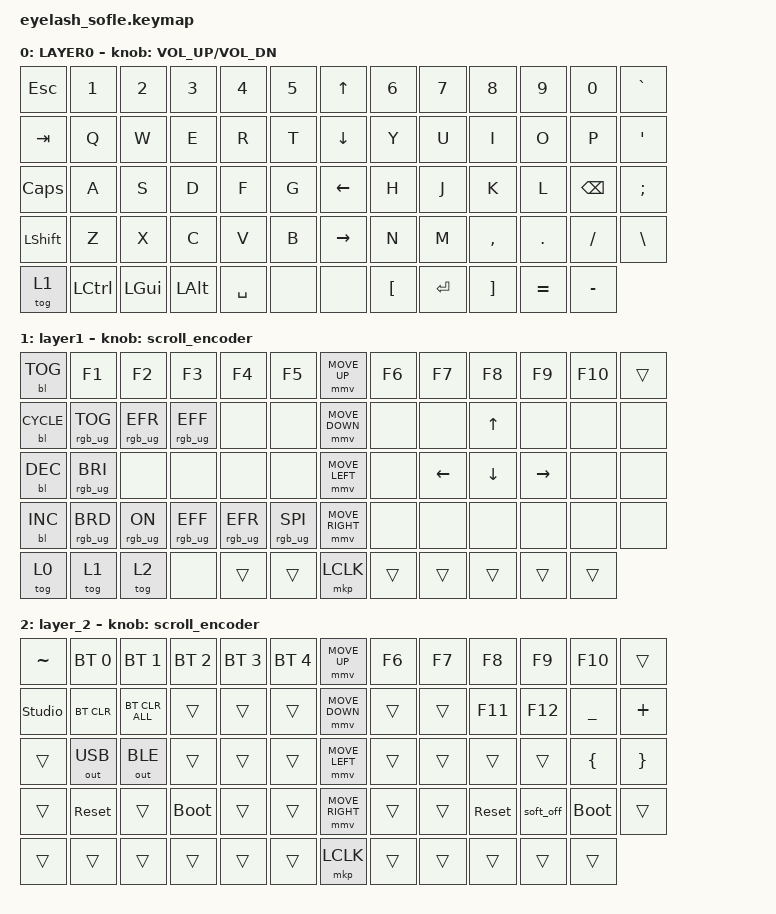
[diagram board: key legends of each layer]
#include <behaviors.dtsi>
#include <dt-bindings/zmk/bt.h>
#include <dt-bindings/zmk/keys.h>
#include <dt-bindings/zmk/mouse.h>
#include <dt-bindings/zmk/outputs.h>
#include <dt-bindings/zmk/backlight.h>
#include <dt-bindings/zmk/rgb.h>

#include <input/processors.dtsi>

/*

   &mmv_input_listener {
       input-processors = <&zip_xy_scaler 2 1>;
   };

   &msc_input_listener {
       input-processors = <&zip_xy_scaler 2 1>;
   };

 */

#define ZMK_MOUSE_DEFAULT_MOVE_VAL 1200  // 600
#define ZMK_MOUSE_DEFAULT_SCRL_VAL 20    // 10


/ {
    behaviors {
        mmv {
            acceleration-exponent = <1>;      // 1
            time-to-max-speed-ms = <900>;    // 40
            delay-ms = <0>;                   // 0
        };

        msc {
            acceleration-exponent = <1>;      // 0
            time-to-max-speed-ms = <400>;      // 500
            delay-ms = <0>;                   //   10
        };
    };

    scroll_encoder: scroll_encoder {
        compatible = "zmk,behavior-sensor-rotate";
        #sensor-binding-cells = <0>;
        bindings = <&msc SCRL_DOWN>, <&msc SCRL_UP>;

        tap-ms = <30>;
    };

    keymap {
        compatible = "zmk,keymap";

        layer0 {
            bindings = <
&kp ESC   &kp N1     &kp N2        &kp N3        &kp N4  &kp N5       &kp UP_ARROW     &kp N6     &kp N7     &kp N8     &kp N9           &kp N0      &kp GRAVE
&kp TAB     &kp Q      &kp W         &kp E         &kp R   &kp T        &kp DOWN_ARROW   &kp Y      &kp U      &kp I      &kp O            &kp P       &kp SQT
&kp CAPS    &kp A      &kp S         &kp D         &kp F   &kp G        &kp LEFT_ARROW   &kp H      &kp J      &kp K      &kp L            &kp BSPC    &kp SEMI
&kp LSHFT   &kp Z      &kp X         &kp C         &kp V   &kp B        &kp RIGHT_ARROW  &kp N      &kp M      &kp COMMA  &kp DOT          &kp FSLH    &kp BSLH
&tog 1      &kp LCTRL  &kp LEFT_GUI  &kp LEFT_ALT  &kp SPACE   &none    &none            &kp LBKT   &kp ENTER  &kp RBKT   &kp EQUAL        &kp MINUS
            >;

            sensor-bindings = <&inc_dec_kp C_VOLUME_UP C_VOL_DN>;
            display-name = "LAYER0";
        };

        layer_1 {
            bindings = <
&bl BL_TOG   &kp F1           &kp F2          &kp F3           &kp F4           &kp F5             &mmv MOVE_UP     &kp F6          &kp F7           &kp F8      &kp F9     &kp F10           &trans
&bl BL_CYCLE &rgb_ug RGB_TOG  &rgb_ug RGB_EFR  &rgb_ug RGB_EFF &none            &none             &mmv MOVE_DOWN   &none            &none            &kp UP      &none      &none             &none
&bl BL_DEC &rgb_ug RGB_BRI        &none          &none           &none           &none           &mmv MOVE_LEFT   &none            &kp LEFT         &kp DOWN    &kp RIGHT  &none             &none
&bl BL_INC &rgb_ug RGB_BRD  &rgb_ug RGB_ON  &rgb_ug RGB_EFF  &rgb_ug RGB_EFR  &rgb_ug RGB_SPI    &mmv MOVE_RIGHT  &none          &none           &none           &none      &none        &none
&tog 0     &tog 1           &tog 2  &none           &trans           &trans             &mkp LCLK        &trans           &trans           &trans      &trans     &trans
            >;

            display-name = "layer1";
            sensor-bindings = <&scroll_encoder>;
        };

        layer_2 {
            bindings = <
&kp TILDE  &bt BT_SEL 0  &bt BT_SEL 1    &bt BT_SEL 2  &bt BT_SEL 3  &bt BT_SEL 4    &mmv MOVE_UP     &kp F6  &kp F7  &kp F8      &kp F9     &kp F10      &trans
&studio_unlock     &bt BT_CLR    &bt BT_CLR_ALL  &trans        &trans        &trans          &mmv MOVE_DOWN   &trans  &trans  &kp F11     &kp F12    &kp UNDER    &kp PLUS
&trans     &out OUT_USB  &out OUT_BLE    &trans        &trans        &trans          &mmv MOVE_LEFT   &trans  &trans  &trans      &trans     &kp LBRC     &kp RBRC
&trans     &sys_reset    &trans          &bootloader   &trans        &trans          &mmv MOVE_RIGHT  &trans  &trans  &sys_reset  &soft_off  &bootloader  &trans
&trans     &trans        &trans          &trans        &trans        &trans          &mkp LCLK        &trans  &trans  &trans      &trans     &trans
            >;

            sensor-bindings = <&scroll_encoder>;
        };
    };
};
